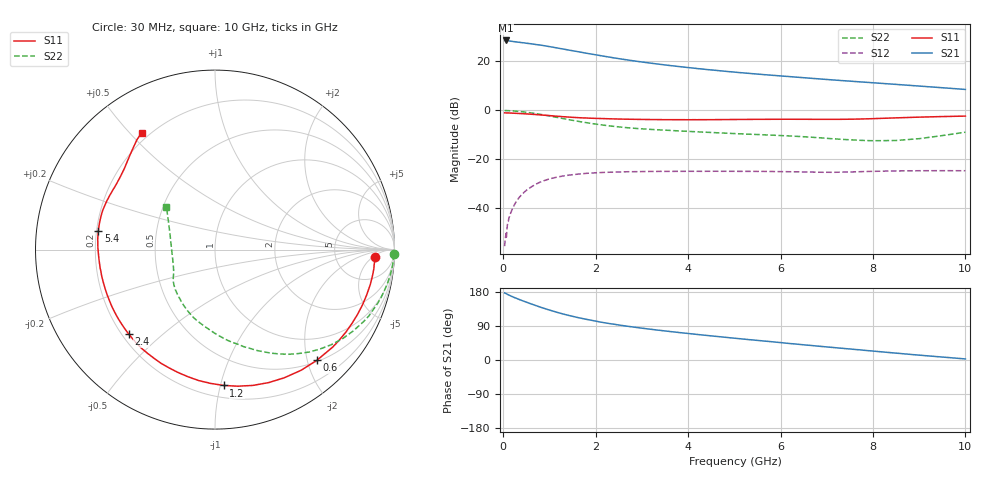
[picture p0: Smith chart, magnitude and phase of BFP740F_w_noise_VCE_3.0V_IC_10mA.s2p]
! Infineon Technologies  Discrete & RF Semiconductors
! BFP740F
! VCE =  3.0 V,  IC =  10 mA
! Common Emitter S-Parameters:  Oct 2012
# GHz  S  MA  R  50
!  f  S11  S21  S12  S22
! GHz  MAG  ANG  MAG  ANG  MAG  ANG  MAG  ANG
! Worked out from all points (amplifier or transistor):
!   99 points, 30 MHz to 10 GHz, reference 50 ohm
!   highest |S21| = 28.6 dB at 50 MHz (marker M1)
!   |S21| within 3 dB of that: start of sweep to 1.148 GHz
!   unconditionally stable (mu >= 1): 6.658 GHz to end of sweep
!   at 350 MHz: K = 0.08, MSG = 31.6 dB, |S12| = -35.4 dB
!   at 3.5 GHz: K = 0.49, MSG = 21.7 dB, |S12| = -24.9 dB
!   at 10 GHz: K = 1.27, MAG = 13.4 dB, |S12| = -24.6 dB
!   lowest NFmin = 0.44 dB at 450 MHz
!   S11 on the Smith chart (normalised r, x): 30 MHz: 15, -6; 600 MHz: 0.53, -2.18; 1.2 GHz: 0.29, -1.02; 2.4 GHz: 0.23, -0.39; 5.4 GHz: 0.21, +0.07; 10 GHz: 0.17, +0.54
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0.03  0.8938 -2.5  26.69 177.0  0.0017 86.4  0.9951 -1.5
0.05  0.8924 -4.1  26.85 175.9  0.0026 104.3  0.9941 -2.6
0.13  0.8882 -10.9  26.18 170.9  0.0067 85.3  0.9889 -7.1
0.25  0.8775 -20.6  25.31 164.4  0.0123 79.2  0.9715 -13.4
0.45  0.8566 -36.1  23.99 154.9  0.0213 70.8  0.9332 -23.4
0.6  0.8383 -47.3  23 148.2  0.0273 63.9  0.8935 -30.5
0.8  0.8121 -61.5  21.65 139.6  0.0345 56.8  0.836 -39.4
0.9  0.7989 -68.1  20.89 135.7  0.0374 53.1  0.8045 -43.6
1  0.7856 -74.4  20.11 131.8  0.0401 50.1  0.7735 -47.6
1.2  0.7586 -86.3  18.62 124.6  0.0443 44.1  0.7121 -55.0
1.4  0.7354 -97.0  17.21 118.2  0.0476 39.1  0.656 -61.6
1.7  0.707 -111.1  15.33 109.8  0.051 33.1  0.5829 -70.6
2.1  0.6856 -126.6  13.19 100.2  0.054 26.5  0.5115 -81.9
2.4  0.6727 -135.7  11.82 94.3  0.0553 22.7  0.4734 -88.8
2.8  0.6608 -146.1  10.38 87.2  0.0563 18.9  0.4359 -96.6
3.4  0.6506 -158.7  8.731 78.1  0.0572 14.5  0.401 -106.4
4.3  0.6482 -173.7  7.024 66.1  0.0572 10.1  0.3625 -117.3
5.1  0.6559 175.0  5.952 56.4  0.0572 7.4  0.3343 -126.5
5.4  0.6583 171.1  5.63 52.9  0.0572 6.5  0.3257 -129.9
6.7  0.6597 154.0  4.508 37.9  0.0552 4.4  0.2832 -145.2
8.5  0.7065 132.3  3.406 18.1  0.0584 5.1  0.2439 176.1
10  0.7681 122.2  2.687 2.8  0.0589 2.4  0.3603 138.7
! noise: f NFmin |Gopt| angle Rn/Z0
0.45  0.44  0.22  5  0.24
0.9  0.49  0.22  12  0.16
1.5  0.57  0.22  23  0.1
1.9  0.61  0.21  31  0.07
2.4  0.66  0.21  42  0.06
3.5  0.78  0.18  66  0.09
5.5  0.98  0.1  127  0.1
10  1.39  0.38  -118  0.09
